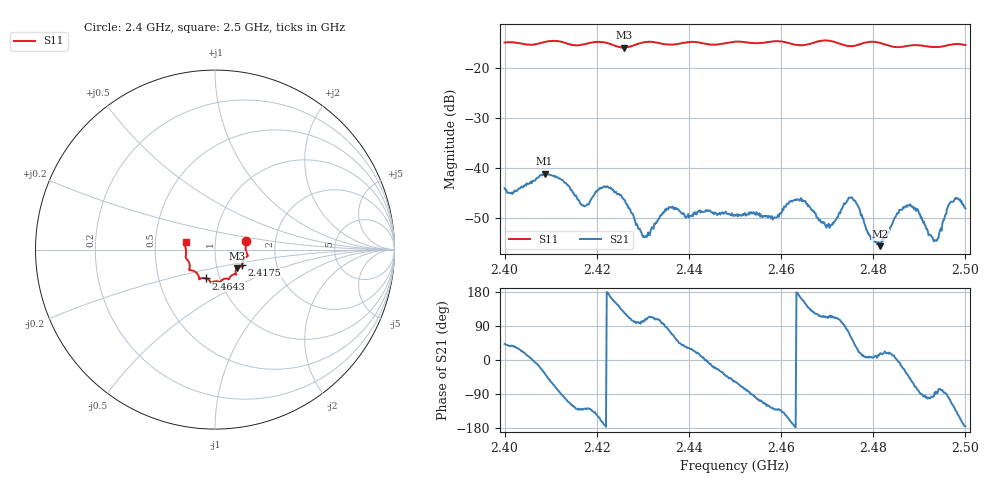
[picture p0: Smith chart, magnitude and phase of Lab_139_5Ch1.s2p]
# Hz S RI R 50
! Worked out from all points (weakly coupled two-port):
!   601 points, 2.4 GHz to 2.5 GHz, reference 50 ohm
!   highest |S21| = -41.16 dB at 2.4087 GHz (marker M1); lowest = -55.7 dB at 2.4815 GHz (marker M2)
!   lowest |S11| = -15.9 dB at 2.4258 GHz (marker M3), VSWR 1.38, Z = 62.3 - j13.2 ohm
!   |S11| at or under -10 dB: start of sweep to end of sweep
!   S12 and S22 are empty: the file has one direction only
!   S11 on the Smith chart (normalised r, x): 2.4 GHz: 1.41, +0.14; 2.4175 GHz: 1.34, -0.23; 2.4643 GHz: 0.86, -0.29; 2.5 GHz: 0.72, +0.06
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2.4e9  0.1729 0.0488  0.00461 0.0042  0 0  0 0
2.408667e9  0.1798 -0.0262  0.0072 -0.00496  0 0  0 0
2.416667e9  0.1529 -0.0741  -0.00269 -0.00333  0 0  0 0
2.4175e9  0.1518 -0.0835  -0.00258 -0.00327  0 0  0 0
2.421833e9  0.1522 -0.0954  -0.00647 -0.000863  0 0  0 0
2.425833e9  0.1217 -0.1033  -0.00289 0.00387  0 0  0 0
2.430333e9  0.118 -0.1371  -0.000426 0.00197  0 0  0 0
2.433333e9  0.1132 -0.1372  -0.000846 0.00292  0 0  0 0
2.436167e9  0.0932 -0.1434  0.00138 0.00374  0 0  0 0
2.45e9  0.0289 -0.1809  0.00182 -0.00278  0 0  0 0
2.458667e9  -0.0214 -0.1835  -0.00208 -0.00239  0 0  0 0
2.464333e9  -0.0498 -0.161  -0.00476 0.00146  0 0  0 0
2.466667e9  -0.0758 -0.1594  -0.00235 0.00294  0 0  0 0
2.470333e9  -0.0881 -0.1656  -0.00116 0.0025  0 0  0 0
2.475167e9  -0.1078 -0.1252  0.00248 0.0044  0 0  0 0
2.479e9  -0.1414 -0.1147  0.00219 0.000232  0 0  0 0
2.4815e9  -0.1424 -0.1062  0.00157 0.000499  0 0  0 0
2.483333e9  -0.1408 -0.0899  0.00212 0.000627  0 0  0 0
2.488e9  -0.16 -0.0501  0.00289 -0.00322  0 0  0 0
2.4935e9  -0.1613 -0.0082  6.8e-06 -0.00188  0 0  0 0
2.496667e9  -0.1687 0.0247  -0.00113 -0.0043  0 0  0 0
2.5e9  -0.1638 0.0431  -0.00391 -0.000329  0 0  0 0
